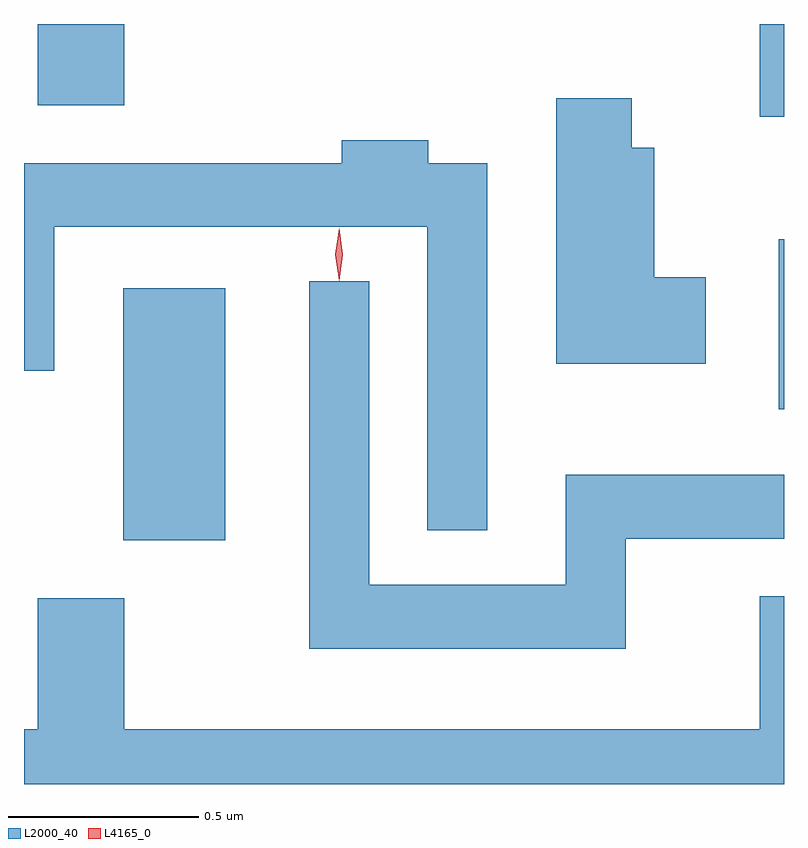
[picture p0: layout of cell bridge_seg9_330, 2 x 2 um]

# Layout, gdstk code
import gdstk
lib = gdstk.Library(unit=1e-6, precision=1e-09)
def R(c, l, rs):  # rectangles x0, y0, x1, y1
    for r in rs: c.add(gdstk.rectangle(r[:2], r[2:], *l))
def P(c, l, *ps):  # polygons
    for p in ps: c.add(gdstk.Polygon(p, *l))
L2000_40 = (2000, 40)
L4165_0 = (4165, 0)

bridge_seg9_330 = lib.new_cell('bridge_seg9_330')
R(bridge_seg9_330, L2000_40, [(1000.036,2079.161,1000.304,2079.824), (1001.761,2079.506,1001.775,2079.954), (1001.711,2080.276,1001.775,2080.52), (999.811,2080.306,1000.039,2080.52)])
P(bridge_seg9_330, L2000_40, [(1001.569,2079.854),(1001.434,2079.854),(1001.434,2080.194),(1001.374,2080.194),(1001.374,2080.324),(1001.176,2080.324),(1001.176,2079.626),(1001.569,2079.626)],
  [(1000.994,2080.154),(1000.839,2080.154),(1000.839,2080.214),(1000.611,2080.214),(1000.611,2080.154),(999.775,2080.154),(999.775,2079.608),(999.854,2079.608),(999.854,2079.986),(1000.836,2079.986),(1000.836,2079.188),(1000.994,2079.188)],
  [(1001.359,2079.166),(1001.775,2079.166),(1001.775,2079.334),(1001.201,2079.334),(1001.201,2079.044),(1000.684,2079.044),(1000.684,2079.843),(1000.526,2079.843),(1000.526,2078.876),(1001.359,2078.876)],
  [(1001.775,2079.014),(1001.711,2079.014),(1001.711,2078.664),(1000.039,2078.664),(1000.039,2079.009),(999.811,2079.009),(999.811,2078.664),(999.775,2078.664),(999.775,2078.52),(1001.775,2078.52)])
P(bridge_seg9_330, L4165_0, [(1000.604,2079.844),(1000.604,2079.844),(1000.594,2079.913),(1000.604,2079.982),(1000.604,2079.983),(1000.605,2079.982),(1000.614,2079.913),(1000.605,2079.844)],
  [(1000.604,2079.847),(1000.604,2079.847),(1000.594,2079.914),(1000.604,2079.98),(1000.604,2079.98),(1000.605,2079.98),(1000.614,2079.914),(1000.605,2079.847)])

lib.write_gds('bridge_seg9_330.gds')
